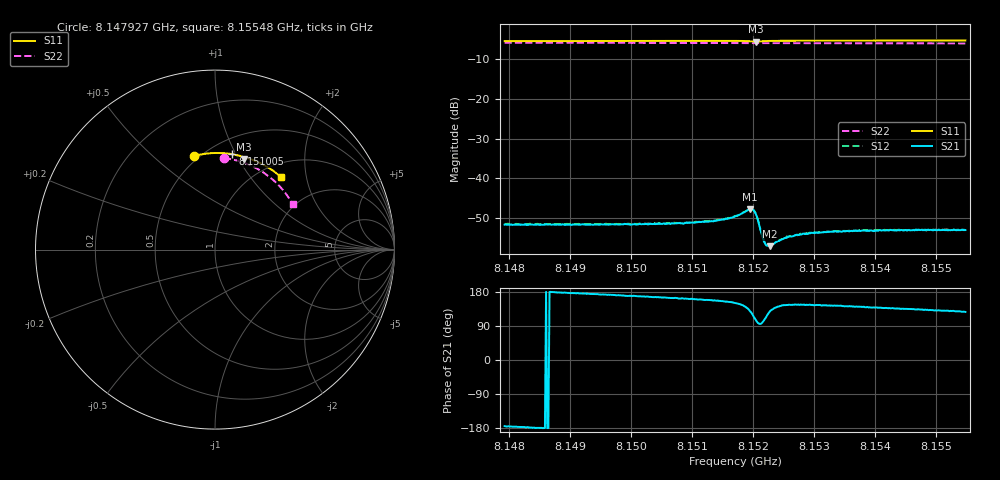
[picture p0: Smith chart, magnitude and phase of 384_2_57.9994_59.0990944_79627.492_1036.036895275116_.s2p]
#  HZ  S  RI  R  50.00
! Rohde & Schwarz Vector Network Analyzer
! Rohde-Schwarz,ZNB20-2Port,1311601062101988,3.16
! Created: UTC 3/21/2024, 1:07:27 AM
! freq[Hz]  re:S11  im:S11  re:S21  im:S21  re:S12  im:S12  re:S22  im:S22
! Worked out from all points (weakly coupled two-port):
!   401 points, 8.147927 GHz to 8.15548 GHz, reference 50 ohm
!   highest |S21| = -47.76 dB at 8.151949 GHz (marker M1); lowest = -57.0 dB at 8.15227 GHz (marker M2)
!   lowest |S11| = -5.5 dB at 8.152044 GHz (marker M3), VSWR 3.25, Z = 37.6 + j52.7 ohm
!   |S11| at or under -10 dB: nowhere
!   |S22| runs from -6.0 to -5.8 dB; largest |S21 - S12| = 0.00012
!   S11 on the Smith chart (normalised r, x): 8.147927 GHz: 0.47, +0.69; 8.151005 GHz: 0.64, +0.97; 8.15548 GHz: 1.25, +1.44
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8.1479271e9  -0.1166 0.5224  -0.00261 -0.00025  -0.00269 -0.000159  0.0494 0.5098
8.1491923e9  -0.0296 0.5367  -0.00263 0.000203  -0.00265 0.000249  0.1303 0.4939
8.1504575e9  0.0585 0.5363  -0.0026 0.000678  -0.00264 0.000744  0.2063 0.4653
8.1510051e9  0.0966 0.5316  -0.00264 0.00091  -0.00264 0.000947  0.2374 0.4492
8.1513827e9  0.1231 0.5265  -0.00271 0.00116  -0.00268 0.0012  0.2583 0.437
8.1515338e9  0.1338 0.524  -0.00277 0.00131  -0.00276 0.00135  0.2664 0.4318
8.1517037e9  0.146 0.5201  -0.00291 0.00164  -0.00287 0.00171  0.2753 0.4257
8.1519492e9  0.1629 0.5087  -0.00259 0.00317  -0.00259 0.00324  0.2881 0.4164
8.1520059e9  0.163 0.5047  -0.00173 0.00361  -0.00171 0.00363  0.2909 0.4142
8.1520436e9  0.1617 0.5039  -0.000973 0.00346  -0.000912 0.00351  0.2925 0.413
8.1520814e9  0.161 0.5051  -0.000388 0.00293  -0.000341 0.00297  0.2944 0.4116
8.152138e9  0.1632 0.5083  -0.000236 0.00203  -0.00021 0.00202  0.2973 0.4096
8.1521758e9  0.166 0.5096  -0.000392 0.00158  -0.000381 0.00162  0.2991 0.4082
8.1522136e9  0.1691 0.5103  -0.000561 0.00133  -0.000578 0.00134  0.3012 0.4068
8.1522325e9  0.1706 0.5104  -0.000689 0.00125  -0.000695 0.00125  0.3021 0.4063
8.1522702e9  0.174 0.5104  -0.000848 0.00112  -0.000881 0.00116  0.304 0.4048
8.1524779e9  0.1902 0.5072  -0.0014 0.000998  -0.0014 0.00105  0.3143 0.3964
8.1525912e9  0.198 0.5047  -0.00154 0.00104  -0.00153 0.00109  0.3199 0.3918
8.1529689e9  0.2234 0.495  -0.0017 0.00117  -0.00166 0.0012  0.3376 0.3757
8.1533843e9  0.2498 0.4831  -0.00171 0.00128  -0.00175 0.00131  0.3563 0.3573
8.154234e9  0.3012 0.4544  -0.00163 0.00152  -0.00165 0.00154  0.3908 0.3165
8.1554803e9  0.3698 0.4026  -0.00134 0.00179  -0.00134 0.00178  0.4332 0.2514
